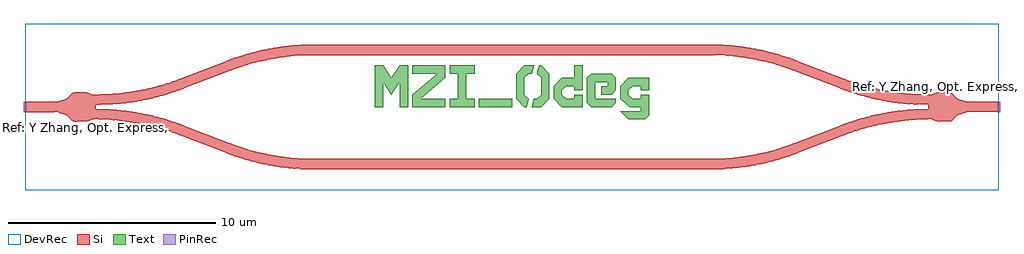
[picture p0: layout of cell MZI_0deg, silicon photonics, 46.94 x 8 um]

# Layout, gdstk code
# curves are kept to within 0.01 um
import gdstk
lib = gdstk.Library(unit=1e-6, precision=1e-09)
def R(c, l, rs):  # rectangles x0, y0, x1, y1
    for r in rs: c.add(gdstk.rectangle(r[:2], r[2:], *l))
def P(c, l, *ps):  # polygons
    for p in ps: c.add(gdstk.Polygon(p, *l))
Si = (1, 0)
PinRec = (1, 10)
Text = (10, 0)
DevRec = (68, 0)

optical_port1_1 = lib.new_cell('optical_port1$1')
optical_port1_1.add(gdstk.FlexPath([(0.05,0),(-0.05,0)], 0.5, ends="flush", simple_path=True, layer=1, datatype=10))  # PinRec
optical_port1_1.add(gdstk.FlexPath([(0.05,0),(-0.05,0)], 0.5, ends="flush", simple_path=True, layer=1, datatype=10))  # PinRec
optical_port1_1.add(gdstk.FlexPath([(0.05,0),(-0.05,0)], 0.5, ends="flush", simple_path=True, layer=1, datatype=10))  # PinRec
optical_port1_1.add(gdstk.FlexPath([(0.05,0),(-0.05,0)], 0.5, ends="flush", simple_path=True, layer=1, datatype=10))  # PinRec
optical_port1_1.add(gdstk.FlexPath([(0.05,0),(-0.05,0)], 0.5, ends="flush", simple_path=True, layer=1, datatype=10))  # PinRec
optical_port1_1.add(gdstk.FlexPath([(0.05,0),(-0.05,0)], 0.5, ends="flush", simple_path=True, layer=1, datatype=10))  # PinRec
optical_port1_1.add(gdstk.FlexPath([(0.05,0),(-0.05,0)], 0.5, ends="flush", simple_path=True, layer=1, datatype=10))  # PinRec
optical_port1_1.add(gdstk.FlexPath([(0.05,0),(-0.05,0)], 0.5, ends="flush", simple_path=True, layer=1, datatype=10))  # PinRec
optical_port1_1.add(gdstk.FlexPath([(0.05,0),(-0.05,0)], 0.5, ends="flush", simple_path=True, layer=1, datatype=10))  # PinRec
optical_port1_1.add(gdstk.FlexPath([(0.05,0),(-0.05,0)], 0.5, ends="flush", simple_path=True, layer=1, datatype=10))  # PinRec
optical_port1_1.add(gdstk.FlexPath([(0.05,0),(-0.05,0)], 0.5, ends="flush", simple_path=True, layer=1, datatype=10))  # PinRec
optical_port1_1.add(gdstk.FlexPath([(0.05,0),(-0.05,0)], 0.5, ends="flush", simple_path=True, layer=1, datatype=10))  # PinRec
optical_port1_1.add(gdstk.FlexPath([(0.05,0),(-0.05,0)], 0.5, ends="flush", simple_path=True, layer=1, datatype=10))  # PinRec
optical_port1_1.add(gdstk.FlexPath([(0.05,0),(-0.05,0)], 0.5, ends="flush", simple_path=True, layer=1, datatype=10))  # PinRec
optical_port1_1.add(gdstk.FlexPath([(0.05,0),(-0.05,0)], 0.5, ends="flush", simple_path=True, layer=1, datatype=10))  # PinRec
optical_port1_1.add(gdstk.FlexPath([(0.05,0),(-0.05,0)], 0.5, ends="flush", simple_path=True, layer=1, datatype=10))  # PinRec
optical_port1_1.add(gdstk.FlexPath([(0.05,0),(-0.05,0)], 0.5, ends="flush", simple_path=True, layer=1, datatype=10))  # PinRec
optical_port1_1.add(gdstk.FlexPath([(0.05,0),(-0.05,0)], 0.5, ends="flush", simple_path=True, layer=1, datatype=10))  # PinRec
optical_port1_1.add(gdstk.FlexPath([(0.05,0),(-0.05,0)], 0.5, ends="flush", simple_path=True, layer=1, datatype=10))  # PinRec
optical_port1_1.add(gdstk.FlexPath([(0.05,0),(-0.05,0)], 0.5, ends="flush", simple_path=True, layer=1, datatype=10))  # PinRec
optical_port1_1.add(gdstk.FlexPath([(0.05,0),(-0.05,0)], 0.5, ends="flush", simple_path=True, layer=1, datatype=10))  # PinRec
optical_port1_1.add(gdstk.FlexPath([(0.05,0),(-0.05,0)], 0.5, ends="flush", simple_path=True, layer=1, datatype=10))  # PinRec
optical_port1_1.add(gdstk.FlexPath([(0.05,0),(-0.05,0)], 0.5, ends="flush", simple_path=True, layer=1, datatype=10))  # PinRec
optical_port1_1.add(gdstk.FlexPath([(0.05,0),(-0.05,0)], 0.5, ends="flush", simple_path=True, layer=1, datatype=10))  # PinRec
optical_port1_1.add(gdstk.FlexPath([(0.05,0),(-0.05,0)], 0.5, ends="flush", simple_path=True, layer=1, datatype=10))  # PinRec
optical_port1_1.add(gdstk.FlexPath([(0.05,0),(-0.05,0)], 0.5, ends="flush", simple_path=True, layer=1, datatype=10))  # PinRec
optical_port1_1.add(gdstk.FlexPath([(0.05,0),(-0.05,0)], 0.5, ends="flush", simple_path=True, layer=1, datatype=10))  # PinRec
optical_port1_1.add(gdstk.FlexPath([(0.05,0),(-0.05,0)], 0.5, ends="flush", simple_path=True, layer=1, datatype=10))  # PinRec
optical_port1_1.add(gdstk.FlexPath([(0.05,0),(-0.05,0)], 0.5, ends="flush", simple_path=True, layer=1, datatype=10))  # PinRec
optical_port1_1.add(gdstk.FlexPath([(0.05,0),(-0.05,0)], 0.5, ends="flush", simple_path=True, layer=1, datatype=10))  # PinRec
optical_port1_1.add(gdstk.FlexPath([(0.05,0),(-0.05,0)], 0.5, ends="flush", simple_path=True, layer=1, datatype=10))  # PinRec
optical_port1_1.add(gdstk.FlexPath([(0.05,0),(-0.05,0)], 0.5, ends="flush", simple_path=True, layer=1, datatype=10))  # PinRec
optical_port1_1.add(gdstk.FlexPath([(0.05,0),(-0.05,0)], 0.5, ends="flush", simple_path=True, layer=1, datatype=10))  # PinRec
optical_port1_1.add(gdstk.FlexPath([(0.05,0),(-0.05,0)], 0.5, ends="flush", simple_path=True, layer=1, datatype=10))  # PinRec
optical_port1_1.add(gdstk.FlexPath([(0.05,0),(-0.05,0)], 0.5, ends="flush", simple_path=True, layer=1, datatype=10))  # PinRec
optical_port1_1.add(gdstk.FlexPath([(0.05,0),(-0.05,0)], 0.5, ends="flush", simple_path=True, layer=1, datatype=10))  # PinRec
optical_port1_1.add(gdstk.FlexPath([(0.05,0),(-0.05,0)], 0.5, ends="flush", simple_path=True, layer=1, datatype=10))  # PinRec
optical_port1_1.add(gdstk.FlexPath([(0.05,0),(-0.05,0)], 0.5, ends="flush", simple_path=True, layer=1, datatype=10))  # PinRec
optical_port1_1.add(gdstk.FlexPath([(0.05,0),(-0.05,0)], 0.5, ends="flush", simple_path=True, layer=1, datatype=10))  # PinRec
optical_port1_1.add(gdstk.FlexPath([(0.05,0),(-0.05,0)], 0.5, ends="flush", simple_path=True, layer=1, datatype=10))  # PinRec
optical_port1_1.add(gdstk.FlexPath([(0.05,0),(-0.05,0)], 0.5, ends="flush", simple_path=True, layer=1, datatype=10))  # PinRec
optical_port1_1.add(gdstk.FlexPath([(0.05,0),(-0.05,0)], 0.5, ends="flush", simple_path=True, layer=1, datatype=10))  # PinRec
optical_port1_1.add(gdstk.Label('o1', (0,0), layer=1, texttype=10))
optical_port1_1.add(gdstk.Label('o1', (0,0), layer=1, texttype=10))
optical_port1_1.add(gdstk.Label('o1', (0,0), layer=1, texttype=10))
optical_port1_1.add(gdstk.Label('o1', (0,0), layer=1, texttype=10))
optical_port1_1.add(gdstk.Label('o1', (0,0), layer=1, texttype=10))
optical_port1_1.add(gdstk.Label('o1', (0,0), layer=1, texttype=10))
optical_port1_1.add(gdstk.Label('o1', (0,0), layer=1, texttype=10))
optical_port1_1.add(gdstk.Label('o1', (0,0), layer=1, texttype=10))
optical_port1_1.add(gdstk.Label('o1', (0,0), layer=1, texttype=10))
optical_port1_1.add(gdstk.Label('o1', (0,0), layer=1, texttype=10))
optical_port1_1.add(gdstk.Label('o1', (0,0), layer=1, texttype=10))
optical_port1_1.add(gdstk.Label('o1', (0,0), layer=1, texttype=10))
optical_port1_1.add(gdstk.Label('o1', (0,0), layer=1, texttype=10))
optical_port1_1.add(gdstk.Label('o1', (0,0), layer=1, texttype=10))
optical_port1_1.add(gdstk.Label('o1', (0,0), layer=1, texttype=10))
optical_port1_1.add(gdstk.Label('o1', (0,0), layer=1, texttype=10))
optical_port1_1.add(gdstk.Label('o1', (0,0), layer=1, texttype=10))
optical_port1_1.add(gdstk.Label('o1', (0,0), layer=1, texttype=10))
optical_port1_1.add(gdstk.Label('o1', (0,0), layer=1, texttype=10))
optical_port1_1.add(gdstk.Label('o1', (0,0), layer=1, texttype=10))
optical_port1_1.add(gdstk.Label('o1', (0,0), layer=1, texttype=10))
optical_port1_1.add(gdstk.Label('o1', (0,0), layer=1, texttype=10))
optical_port1_1.add(gdstk.Label('o1', (0,0), layer=1, texttype=10))
optical_port1_1.add(gdstk.Label('o1', (0,0), layer=1, texttype=10))
optical_port1_1.add(gdstk.Label('o1', (0,0), layer=1, texttype=10))
optical_port1_1.add(gdstk.Label('o1', (0,0), layer=1, texttype=10))
optical_port1_1.add(gdstk.Label('o1', (0,0), layer=1, texttype=10))
optical_port1_1.add(gdstk.Label('o1', (0,0), layer=1, texttype=10))
optical_port1_1.add(gdstk.Label('o1', (0,0), layer=1, texttype=10))
optical_port1_1.add(gdstk.Label('o1', (0,0), layer=1, texttype=10))
optical_port1_1.add(gdstk.Label('o1', (0,0), layer=1, texttype=10))
optical_port1_1.add(gdstk.Label('o1', (0,0), layer=1, texttype=10))
optical_port1_1.add(gdstk.Label('o1', (0,0), layer=1, texttype=10))
optical_port1_1.add(gdstk.Label('o1', (0,0), layer=1, texttype=10))
optical_port1_1.add(gdstk.Label('o1', (0,0), layer=1, texttype=10))
optical_port1_1.add(gdstk.Label('o1', (0,0), layer=1, texttype=10))
optical_port1_1.add(gdstk.Label('o1', (0,0), layer=1, texttype=10))
optical_port1_1.add(gdstk.Label('o1', (0,0), layer=1, texttype=10))
optical_port1_1.add(gdstk.Label('o1', (0,0), layer=1, texttype=10))
optical_port1_1.add(gdstk.Label('o1', (0,0), layer=1, texttype=10))
optical_port1_1.add(gdstk.Label('o1', (0,0), layer=1, texttype=10))
optical_port1_1.add(gdstk.Label('o1', (0,0), layer=1, texttype=10))

optical_port2_1 = lib.new_cell('optical_port2$1')
optical_port2_1.add(gdstk.FlexPath([(-0.05,0),(0.05,0)], 0.5, ends="flush", simple_path=True, layer=1, datatype=10))  # PinRec
optical_port2_1.add(gdstk.FlexPath([(-0.05,0),(0.05,0)], 0.5, ends="flush", simple_path=True, layer=1, datatype=10))  # PinRec
optical_port2_1.add(gdstk.FlexPath([(-0.05,0),(0.05,0)], 0.5, ends="flush", simple_path=True, layer=1, datatype=10))  # PinRec
optical_port2_1.add(gdstk.FlexPath([(-0.05,0),(0.05,0)], 0.5, ends="flush", simple_path=True, layer=1, datatype=10))  # PinRec
optical_port2_1.add(gdstk.FlexPath([(-0.05,0),(0.05,0)], 0.5, ends="flush", simple_path=True, layer=1, datatype=10))  # PinRec
optical_port2_1.add(gdstk.FlexPath([(-0.05,0),(0.05,0)], 0.5, ends="flush", simple_path=True, layer=1, datatype=10))  # PinRec
optical_port2_1.add(gdstk.FlexPath([(-0.05,0),(0.05,0)], 0.5, ends="flush", simple_path=True, layer=1, datatype=10))  # PinRec
optical_port2_1.add(gdstk.FlexPath([(-0.05,0),(0.05,0)], 0.5, ends="flush", simple_path=True, layer=1, datatype=10))  # PinRec
optical_port2_1.add(gdstk.FlexPath([(-0.05,0),(0.05,0)], 0.5, ends="flush", simple_path=True, layer=1, datatype=10))  # PinRec
optical_port2_1.add(gdstk.FlexPath([(-0.05,0),(0.05,0)], 0.5, ends="flush", simple_path=True, layer=1, datatype=10))  # PinRec
optical_port2_1.add(gdstk.FlexPath([(-0.05,0),(0.05,0)], 0.5, ends="flush", simple_path=True, layer=1, datatype=10))  # PinRec
optical_port2_1.add(gdstk.FlexPath([(-0.05,0),(0.05,0)], 0.5, ends="flush", simple_path=True, layer=1, datatype=10))  # PinRec
optical_port2_1.add(gdstk.FlexPath([(-0.05,0),(0.05,0)], 0.5, ends="flush", simple_path=True, layer=1, datatype=10))  # PinRec
optical_port2_1.add(gdstk.FlexPath([(-0.05,0),(0.05,0)], 0.5, ends="flush", simple_path=True, layer=1, datatype=10))  # PinRec
optical_port2_1.add(gdstk.FlexPath([(-0.05,0),(0.05,0)], 0.5, ends="flush", simple_path=True, layer=1, datatype=10))  # PinRec
optical_port2_1.add(gdstk.FlexPath([(-0.05,0),(0.05,0)], 0.5, ends="flush", simple_path=True, layer=1, datatype=10))  # PinRec
optical_port2_1.add(gdstk.FlexPath([(-0.05,0),(0.05,0)], 0.5, ends="flush", simple_path=True, layer=1, datatype=10))  # PinRec
optical_port2_1.add(gdstk.FlexPath([(-0.05,0),(0.05,0)], 0.5, ends="flush", simple_path=True, layer=1, datatype=10))  # PinRec
optical_port2_1.add(gdstk.FlexPath([(-0.05,0),(0.05,0)], 0.5, ends="flush", simple_path=True, layer=1, datatype=10))  # PinRec
optical_port2_1.add(gdstk.FlexPath([(-0.05,0),(0.05,0)], 0.5, ends="flush", simple_path=True, layer=1, datatype=10))  # PinRec
optical_port2_1.add(gdstk.FlexPath([(-0.05,0),(0.05,0)], 0.5, ends="flush", simple_path=True, layer=1, datatype=10))  # PinRec
optical_port2_1.add(gdstk.FlexPath([(-0.05,0),(0.05,0)], 0.5, ends="flush", simple_path=True, layer=1, datatype=10))  # PinRec
optical_port2_1.add(gdstk.FlexPath([(-0.05,0),(0.05,0)], 0.5, ends="flush", simple_path=True, layer=1, datatype=10))  # PinRec
optical_port2_1.add(gdstk.FlexPath([(-0.05,0),(0.05,0)], 0.5, ends="flush", simple_path=True, layer=1, datatype=10))  # PinRec
optical_port2_1.add(gdstk.FlexPath([(-0.05,0),(0.05,0)], 0.5, ends="flush", simple_path=True, layer=1, datatype=10))  # PinRec
optical_port2_1.add(gdstk.FlexPath([(-0.05,0),(0.05,0)], 0.5, ends="flush", simple_path=True, layer=1, datatype=10))  # PinRec
optical_port2_1.add(gdstk.FlexPath([(-0.05,0),(0.05,0)], 0.5, ends="flush", simple_path=True, layer=1, datatype=10))  # PinRec
optical_port2_1.add(gdstk.FlexPath([(-0.05,0),(0.05,0)], 0.5, ends="flush", simple_path=True, layer=1, datatype=10))  # PinRec
optical_port2_1.add(gdstk.FlexPath([(-0.05,0),(0.05,0)], 0.5, ends="flush", simple_path=True, layer=1, datatype=10))  # PinRec
optical_port2_1.add(gdstk.FlexPath([(-0.05,0),(0.05,0)], 0.5, ends="flush", simple_path=True, layer=1, datatype=10))  # PinRec
optical_port2_1.add(gdstk.FlexPath([(-0.05,0),(0.05,0)], 0.5, ends="flush", simple_path=True, layer=1, datatype=10))  # PinRec
optical_port2_1.add(gdstk.FlexPath([(-0.05,0),(0.05,0)], 0.5, ends="flush", simple_path=True, layer=1, datatype=10))  # PinRec
optical_port2_1.add(gdstk.FlexPath([(-0.05,0),(0.05,0)], 0.5, ends="flush", simple_path=True, layer=1, datatype=10))  # PinRec
optical_port2_1.add(gdstk.FlexPath([(-0.05,0),(0.05,0)], 0.5, ends="flush", simple_path=True, layer=1, datatype=10))  # PinRec
optical_port2_1.add(gdstk.FlexPath([(-0.05,0),(0.05,0)], 0.5, ends="flush", simple_path=True, layer=1, datatype=10))  # PinRec
optical_port2_1.add(gdstk.FlexPath([(-0.05,0),(0.05,0)], 0.5, ends="flush", simple_path=True, layer=1, datatype=10))  # PinRec
optical_port2_1.add(gdstk.FlexPath([(-0.05,0),(0.05,0)], 0.5, ends="flush", simple_path=True, layer=1, datatype=10))  # PinRec
optical_port2_1.add(gdstk.FlexPath([(-0.05,0),(0.05,0)], 0.5, ends="flush", simple_path=True, layer=1, datatype=10))  # PinRec
optical_port2_1.add(gdstk.FlexPath([(-0.05,0),(0.05,0)], 0.5, ends="flush", simple_path=True, layer=1, datatype=10))  # PinRec
optical_port2_1.add(gdstk.FlexPath([(-0.05,0),(0.05,0)], 0.5, ends="flush", simple_path=True, layer=1, datatype=10))  # PinRec
optical_port2_1.add(gdstk.FlexPath([(-0.05,0),(0.05,0)], 0.5, ends="flush", simple_path=True, layer=1, datatype=10))  # PinRec
optical_port2_1.add(gdstk.FlexPath([(-0.05,0),(0.05,0)], 0.5, ends="flush", simple_path=True, layer=1, datatype=10))  # PinRec
optical_port2_1.add(gdstk.Label('o2', (0,0), layer=1, texttype=10))
optical_port2_1.add(gdstk.Label('o2', (0,0), layer=1, texttype=10))
optical_port2_1.add(gdstk.Label('o2', (0,0), layer=1, texttype=10))
optical_port2_1.add(gdstk.Label('o2', (0,0), layer=1, texttype=10))
optical_port2_1.add(gdstk.Label('o2', (0,0), layer=1, texttype=10))
optical_port2_1.add(gdstk.Label('o2', (0,0), layer=1, texttype=10))
optical_port2_1.add(gdstk.Label('o2', (0,0), layer=1, texttype=10))
optical_port2_1.add(gdstk.Label('o2', (0,0), layer=1, texttype=10))
optical_port2_1.add(gdstk.Label('o2', (0,0), layer=1, texttype=10))
optical_port2_1.add(gdstk.Label('o2', (0,0), layer=1, texttype=10))
optical_port2_1.add(gdstk.Label('o2', (0,0), layer=1, texttype=10))
optical_port2_1.add(gdstk.Label('o2', (0,0), layer=1, texttype=10))
optical_port2_1.add(gdstk.Label('o2', (0,0), layer=1, texttype=10))
optical_port2_1.add(gdstk.Label('o2', (0,0), layer=1, texttype=10))
optical_port2_1.add(gdstk.Label('o2', (0,0), layer=1, texttype=10))
optical_port2_1.add(gdstk.Label('o2', (0,0), layer=1, texttype=10))
optical_port2_1.add(gdstk.Label('o2', (0,0), layer=1, texttype=10))
optical_port2_1.add(gdstk.Label('o2', (0,0), layer=1, texttype=10))
optical_port2_1.add(gdstk.Label('o2', (0,0), layer=1, texttype=10))
optical_port2_1.add(gdstk.Label('o2', (0,0), layer=1, texttype=10))
optical_port2_1.add(gdstk.Label('o2', (0,0), layer=1, texttype=10))
optical_port2_1.add(gdstk.Label('o2', (0,0), layer=1, texttype=10))
optical_port2_1.add(gdstk.Label('o2', (0,0), layer=1, texttype=10))
optical_port2_1.add(gdstk.Label('o2', (0,0), layer=1, texttype=10))
optical_port2_1.add(gdstk.Label('o2', (0,0), layer=1, texttype=10))
optical_port2_1.add(gdstk.Label('o2', (0,0), layer=1, texttype=10))
optical_port2_1.add(gdstk.Label('o2', (0,0), layer=1, texttype=10))
optical_port2_1.add(gdstk.Label('o2', (0,0), layer=1, texttype=10))
optical_port2_1.add(gdstk.Label('o2', (0,0), layer=1, texttype=10))
optical_port2_1.add(gdstk.Label('o2', (0,0), layer=1, texttype=10))
optical_port2_1.add(gdstk.Label('o2', (0,0), layer=1, texttype=10))
optical_port2_1.add(gdstk.Label('o2', (0,0), layer=1, texttype=10))
optical_port2_1.add(gdstk.Label('o2', (0,0), layer=1, texttype=10))
optical_port2_1.add(gdstk.Label('o2', (0,0), layer=1, texttype=10))
optical_port2_1.add(gdstk.Label('o2', (0,0), layer=1, texttype=10))
optical_port2_1.add(gdstk.Label('o2', (0,0), layer=1, texttype=10))
optical_port2_1.add(gdstk.Label('o2', (0,0), layer=1, texttype=10))
optical_port2_1.add(gdstk.Label('o2', (0,0), layer=1, texttype=10))
optical_port2_1.add(gdstk.Label('o2', (0,0), layer=1, texttype=10))
optical_port2_1.add(gdstk.Label('o2', (0,0), layer=1, texttype=10))
optical_port2_1.add(gdstk.Label('o2', (0,0), layer=1, texttype=10))
optical_port2_1.add(gdstk.Label('o2', (0,0), layer=1, texttype=10))

text_tmzi_0deg_s2_p16p0_ = lib.new_cell('text_TMZI_0deg_S2_P16p0_29547a77')
R(text_tmzi_0deg_s2_p16p0_, Text, [(14.42,0,16.02,0.4)])
P(text_tmzi_0deg_s2_p16p0_, Text, [(21.62,-0.6),(21.22,-0.2),(22.22,-0.2),(22.22,0),(21.688,0),(21.22,0.4),(21.22,1),(21.62,1.4),(22.62,1.4),(22.62,0.8),(22.22,0.8),(22.22,1),(21.82,1),(21.62,0.8),(21.62,0.6),(21.82,0.4),(22.22,0.4),(22.22,0.6),(22.62,0.6),(22.62,-0.4),(22.42,-0.6)],
  [(19.82,0),(19.62,0.2),(19.62,1.4),(19.82,1.6),(20.82,1.6),(21.02,1.4),(21.02,0.8),(20.82,0.6),(20.3,0.6),(20.3,1),(20.62,1),(20.62,1.2),(20.02,1.2),(20.02,0.4),(21.02,0.4),(21.02,0.2),(20.82,0)],
  [(9.42,0),(9.42,2),(9.82,2),(10.22,1.4),(10.62,2),(11.02,2),(11.02,0),(10.62,0),(10.62,1.2),(10.22,0.6),(9.82,1.2),(9.82,0)],
  [(11.22,0),(11.22,0.6),(12.42,1.6),(11.22,1.6),(11.22,2),(12.82,2),(12.82,1.4),(11.62,0.4),(12.82,0.4),(12.82,0)],
  [(13.02,0),(13.02,0.4),(13.42,0.4),(13.42,1.6),(13.02,1.6),(13.02,2),(14.22,2),(14.22,1.6),(13.82,1.6),(13.82,0.4),(14.22,0.4),(14.22,0)],
  [(16.62,0),(16.22,0.4),(16.22,1.6),(16.62,2),(17.08,2),(16.98,1.6),(16.82,1.6),(16.62,1.4),(16.62,0.6),(16.82,0.4),(16.72,0)],
  [(16.96,0),(17.06,0.4),(17.22,0.4),(17.42,0.6),(17.42,1.4),(17.22,1.6),(17.32,2),(17.42,2),(17.82,1.6),(17.82,0.4),(17.42,0)],
  [(18.42,0),(18.02,0.4),(18.02,1),(18.42,1.4),(19.02,1.4),(19.02,2),(19.42,2),(19.42,0.8),(19.02,0.8),(19.02,1),(18.62,1),(18.42,0.8),(18.42,0.6),(18.62,0.4),(19.02,0.4),(19.02,0.6),(19.42,0.6),(19.42,0)])

mzi_0deg = lib.new_cell('MZI_0deg')
P(mzi_0deg, Si, [(6.458,-3),(5.718,-2.974),(4.993,-2.903),(4.257,-2.784),(3.509,-2.613),(3.017,-2.472),(2.491,-2.295),(-0.369,-1.202),(-1.123,-0.974),(-1.826,-0.812),(-2.677,-0.678),(-3.601,-0.607),(-4.123,-0.595),(-4.492,-0.699),(-4.991,-0.701),(-5.077,-0.683),(-5.145,-0.647),(-5.344,-0.44),(-5.434,-0.378),(-5.833,-0.25),(-7.4,-0.25),(-7.4,0.25),(-5.833,0.25),(-5.434,0.378),(-5.344,0.44),(-5.145,0.647),(-5.077,0.683),(-4.991,0.701),(-4.492,0.699),(-4.123,0.595),(-3.501,0.611),(-2.619,0.685),(-1.693,0.839),(-0.976,1.014),(-0.334,1.214),(2.412,2.266),(3.109,2.5),(6.456,2.5),(5.796,2.478),(5.119,2.415),(4.414,2.305),(3.799,2.171),(3.282,2.03),(2.706,1.841),(0.088,0.834),(-0.72,0.567),(-1.565,0.355),(-2.381,0.212),(-3.16,0.13),(-4,0.1),(-4,-0.1),(-3.265,-0.123),(-2.564,-0.188),(-1.895,-0.29),(-1.214,-0.435),(-0.612,-0.599),(-0.086,-0.771),(2.532,-1.777),(3.336,-2.046),(3.962,-2.21),(4.54,-2.328),(5.119,-2.415),(5.678,-2.47),(6.456,-2.5),(25.583,-2.5),(26.488,-2.46),(27.036,-2.4),(27.625,-2.305),(28.24,-2.171),(28.757,-2.03),(29.507,-1.777),(32.008,-0.813),(32.461,-0.658),(32.999,-0.5),(33.796,-0.316),(34.532,-0.197),(35.288,-0.124),(36.039,-0.1),(36.039,0.1),(35.304,0.123),(34.603,0.188),(33.934,0.29),(33.253,0.435),(32.651,0.599),(32.125,0.771),(29.507,1.777),(28.757,2.03),(28.24,2.171),(27.667,2.297),(27.08,2.394),(26.567,2.453),(26.081,2.487),(25.583,2.5),(3.109,2.5),(3.59,2.634),(4.147,2.762),(4.757,2.87),(5.294,2.938),(5.868,2.983),(6.458,3),(25.581,3),(26.446,2.965),(27.046,2.903),(27.644,2.81),(28.229,2.688),(28.819,2.533),(29.627,2.266),(32.373,1.214),(33.015,1.014),(33.732,0.839),(34.658,0.685),(35.54,0.611),(36.162,0.595),(36.531,0.699),(37.03,0.701),(37.116,0.683),(37.184,0.647),(37.383,0.44),(37.473,0.378),(37.872,0.25),(39.439,0.25),(39.439,-0.25),(37.872,-0.25),(37.473,-0.378),(37.383,-0.44),(37.184,-0.647),(37.116,-0.683),(37.03,-0.701),(36.531,-0.699),(36.162,-0.595),(35.54,-0.611),(34.658,-0.685),(33.732,-0.839),(33.015,-1.014),(32.373,-1.214),(29.627,-2.266),(28.937,-2.498),(28.449,-2.634),(27.892,-2.762),(27.282,-2.87),(26.745,-2.938),(26.171,-2.983),(25.581,-3)])
R(mzi_0deg, DevRec, [(-7.4,-4,39.439,4)])
mzi_0deg.add(gdstk.Reference(optical_port1_1, (-7.4,0)))
mzi_0deg.add(gdstk.Reference(optical_port2_1, (39.439,0)))
mzi_0deg.add(gdstk.Reference(text_tmzi_0deg_s2_p16p0_, (0,0)))
mzi_0deg.add(gdstk.Label('Ref: Y Zhang, Opt. Express, 21/1, 2013', (-5.65,-1), layer=10, texttype=0))
mzi_0deg.add(gdstk.Label('Ref: Y Zhang, Opt. Express, 21/1, 2013', (37.689,1), layer=10, texttype=0))

lib.write_gds('MZI_0deg.gds')
